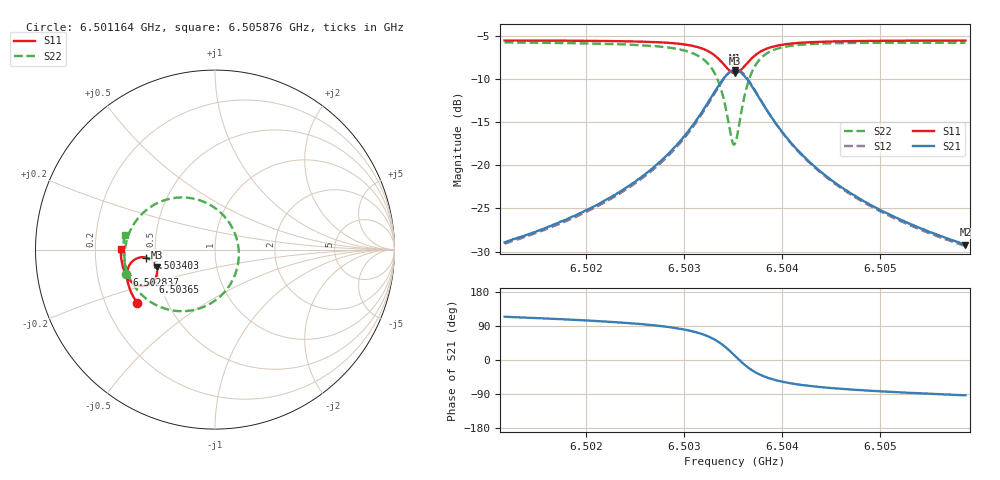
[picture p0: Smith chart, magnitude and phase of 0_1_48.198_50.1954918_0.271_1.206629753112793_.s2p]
#  HZ  S  RI  R  50.00
! Rohde & Schwarz Vector Network Analyzer
! Rohde-Schwarz,ZNB20-2Port,1311601062101988,3.16
! Created: UTC 3/20/2024, 11:35:59 AM
! freq[Hz]  re:S11  im:S11  re:S21  im:S21  re:S12  im:S12  re:S22  im:S22
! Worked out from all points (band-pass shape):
!   401 points, 6.501164 GHz to 6.505876 GHz, reference 50 ohm
!   highest |S21| = -9.02 dB at 6.50352 GHz (marker M1); lowest = -29.2 dB at 6.505876 GHz (marker M2)
!   |S21| within 3 dB of the highest: 6.503285 GHz to 6.503756 GHz (471.4 kHz wide, 0.00725 % of centre)
!   lowest |S11| = -9.4 dB at 6.50352 GHz (marker M3), VSWR 2.03, Z = 25 - j5.63 ohm
!   |S11| at or under -10 dB: nowhere
!   |S22| runs from -17.6 to -5.8 dB; largest |S21 - S12| = 0.013
!   S11 on the Smith chart (normalised r, x): 6.501164 GHz: 0.34, -0.27; 6.502837 GHz: 0.33, -0.12; 6.503403 GHz: 0.45, -0.05; 6.50365 GHz: 0.46, -0.20; 6.505876 GHz: 0.31, +0.00
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6.5011645e9  -0.4361 -0.2948  -0.0147 0.0325  -0.0129 0.0326  -0.4952 -0.1332
6.5019537e9  -0.4686 -0.2345  -0.0138 0.0515  -0.0112 0.0509  -0.5045 -0.0453
6.5023895e9  -0.4831 -0.1941  -0.0104 0.0722  -0.00712 0.0708  -0.4988 0.0207
6.5027429e9  -0.4904 -0.1529  -0.000188 0.1033  0.00349 0.1008  -0.4761 0.097
6.5028371e9  -0.4907 -0.1395  0.00552 0.1158  0.00954 0.1127  -0.463 0.1237
6.5030374e9  -0.4847 -0.1048  0.0309 0.1528  0.0346 0.1479  -0.4107 0.1948
6.5031787e9  -0.4683 -0.0743  0.0729 0.1879  0.0754 0.1816  -0.3297 0.2548
6.5033083e9  -0.4305 -0.0471  0.1533 0.2141  0.1539 0.2077  -0.183 0.2906
6.5034025e9  -0.3818 -0.045  0.2488 0.1962  0.2488 0.1914  -0.0181 0.2436
6.503485e9  -0.3371 -0.076  0.3298 0.1177  0.3325 0.1134  0.1115 0.0885
6.5035203e9  -0.3258 -0.0994  0.3479 0.0665  0.3519 0.0609  0.1326 -0.00777
6.5035439e9  -0.3228 -0.1165  0.3513 0.0304  0.3555 0.0233  0.1292 -0.0744
6.5035792e9  -0.325 -0.1418  0.3431 -0.022  0.3469 -0.0314  0.0998 -0.1674
6.5036499e9  -0.3483 -0.1808  0.2938 -0.1014  0.2937 -0.1137  -0.0169 -0.2954
6.5037441e9  -0.391 -0.2015  0.2118 -0.1459  0.2065 -0.1568  -0.184 -0.3432
6.5038148e9  -0.4182 -0.2016  0.1619 -0.1512  0.155 -0.1595  -0.2768 -0.3296
6.5038973e9  -0.4421 -0.1943  0.1198 -0.1447  0.1121 -0.1505  -0.3508 -0.2964
6.5040622e9  -0.4721 -0.1731  0.07 -0.1226  0.0631 -0.1251  -0.4316 -0.2264
6.5043095e9  -0.495 -0.1418  0.0359 -0.0944  0.0306 -0.095  -0.4807 -0.1462
6.5046747e9  -0.5113 -0.1022  0.0155 -0.0687  0.0119 -0.0682  -0.5045 -0.0672
6.5050988e9  -0.5205 -0.0619  0.00554 -0.0516  0.00301 -0.0509  -0.5107 -0.00323
6.5058762e9  -0.526 0.00488  -0.00189 -0.0346  -0.00346 -0.0338  -0.5039 0.0828
